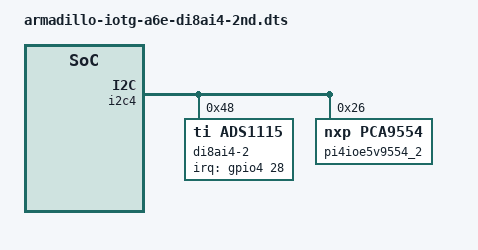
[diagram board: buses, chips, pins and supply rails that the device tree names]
// SPDX-License-Identifier: (GPL-2.0 OR MIT)
/*
 * Copyright (C) 2023 Atmark Techno, Inc. All Rights Reserved.
 */

/dts-v1/;
/plugin/;

#include "imx6ull-pinfunc.h"
#include <dt-bindings/interrupt-controller/irq.h>

&{/} {
	aliases {
		/* Aliases are represented by a string to a full node path.
		 * For overlays, specifying &adc3 will incorrectly result in a path
		 * within a fragment, which is not fixed at apply time.
		 * Specify the full path of the merged node directly.
		 */
		gpio7 = "/soc/bus@2100000/i2c@21f8000/gpio@26";
		iio2 = "/soc/bus@2100000/i2c@21f8000/adc@48";
	};
};

&i2c4 {
	#address-cells = <1>;
	#size-cells = <0>;

	adc3: adc@48 {
		compatible = "ti,ads1115";
		reg = <0x48>;
		label = "di8ai4-2";

		#address-cells = <1>;
		#size-cells = <0>;

		#io-channel-cells = <1>;

		interrupt-parent = <&gpio4>;
		interrupts = <28 IRQ_TYPE_LEVEL_LOW>;

		channel@4 {
			reg = <4>;
			ti,gain = <0>;
			ti,datarate = <4>;
		};

		channel@5 {
			reg = <5>;
			ti,gain = <0>;
			ti,datarate = <4>;
		};

		channel@6 {
			reg = <6>;
			ti,gain = <0>;
			ti,datarate = <4>;
		};

		channel@7 {
			reg = <7>;
			ti,gain = <0>;
			ti,datarate = <4>;
		};
	};

	pi4ioe5v9554_2: gpio@26 {
		compatible = "nxp,pca9554";
		reg = <0x26>;

		gpio-controller;
		#gpio-cells = <2>;
	};
};

&pi4ioe5v9554_2 {
	gpio-line-names =
		/* PI4IOE5V9554_2_00 - 03 */ "DI11", "DI12", "DI13", "DI14",
		/* PI4IOE5V9554_2_04 - 07 */ "DI15", "DI16", "DI17", "DI18";
};
